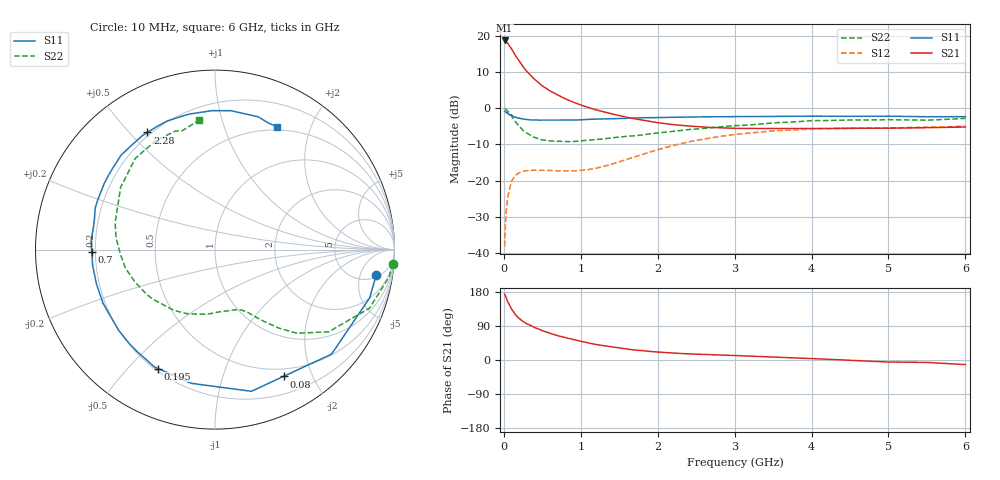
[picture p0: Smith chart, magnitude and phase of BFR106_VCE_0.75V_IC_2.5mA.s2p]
! Infineon Technologies  Discrete & RF Semiconductors
! BFR106
! VCE = 0.75 V,  IC =  2.5 mA
! Common Emitter S-Parameters:  Nov 2015
# GHz  S  MA  R  50
!  f  S11  S21  S12  S22
! GHz  MAG  ANG  MAG  ANG  MAG  ANG  MAG  ANG
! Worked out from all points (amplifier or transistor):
!   210 points, 10 MHz to 6 GHz, reference 50 ohm
!   highest |S21| = 18.8 dB at 10 MHz (marker M1)
!   |S21| within 3 dB of that: start of sweep to 118.6 MHz
!   unconditionally stable (mu >= 1): 711.8 MHz to end of sweep
!   at 185 MHz: K = 0.28, MSG = 15.8 dB, |S12| = -18.0 dB
!   at 1.52 GHz: K = 1.28, MAG = 3.1 dB, |S12| = -14.7 dB
!   at 6 GHz: K = 1.03, MAG = -1.1 dB, |S12| = -5.0 dB
!   S11 on the Smith chart (normalised r, x): 10 MHz: 6, -9; 80 MHz: 0.40, -1.60; 195 MHz: 0.21, -0.61; 700 MHz: 0.19, -0.01; 2.28 GHz: 0.19, +0.56; 6 GHz: 0.46, +1.53
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0.01  0.9089 -9.0  8.685 173.9  0.0124 86.1  0.992 -4.5
0.02  0.9028 -17.3  8.592 169.4  0.0251 82.2  0.9827 -8.8
0.05  0.8724 -41.9  7.987 153.6  0.0585 67.2  0.9204 -20.8
0.08  0.8031 -61.6  7.095 142.8  0.0813 55.4  0.8299 -29.3
0.1  0.8151 -75.6  6.67 134.2  0.0977 50.7  0.7815 -35.9
0.15  0.7567 -100.0  5.396 119.2  0.1181 39.0  0.6531 -45.5
0.195  0.7346 -115.6  4.566 110.6  0.1275 32.8  0.5722 -50.3
0.24  0.7142 -127.7  3.885 103.0  0.1334 28.4  0.5084 -54.1
0.26  0.7086 -132.3  3.637 100.1  0.1352 26.9  0.4865 -55.5
0.3  0.7007 -140.0  3.219 95.3  0.1374 24.6  0.4534 -57.8
0.4  0.6919 -154.4  2.517 85.6  0.1394 21.3  0.3948 -62.4
0.5  0.6876 -163.8  2.044 77.4  0.1388 20.2  0.366 -66.5
0.6  0.6873 -172.3  1.744 70.4  0.138 20.5  0.3544 -71.0
0.7  0.6875 -178.9  1.525 64.1  0.1366 22.0  0.3502 -76.1
1.02  0.6954 164.7  1.093 48.5  0.1392 32.0  0.3562 -93.1
1.4  0.7185 149.3  0.836 34.6  0.1682 45.0  0.3914 -114.5
2.02  0.7449 127.9  0.629 20.7  0.2715 49.5  0.4583 -148.8
2.28  0.7538 120.0  0.585 17.5  0.3205 46.5  0.4904 -162.2
3.1  0.768 98.8  0.528 11.1  0.4453 31.0  0.5817 161.1
4.1  0.7774 82.2  0.527 3.1  0.5191 12.5  0.6757 128.6
5.1  0.775 71.0  0.533 -5.5  0.5373 -0.8  0.6943 107.8
6  0.767 63.2  0.551 -12.1  0.5635 -9.9  0.7263 97.0
